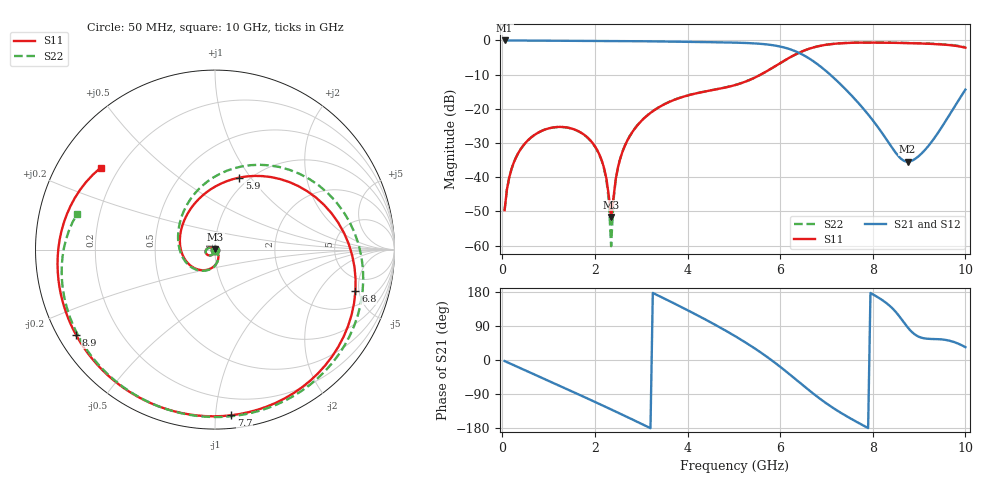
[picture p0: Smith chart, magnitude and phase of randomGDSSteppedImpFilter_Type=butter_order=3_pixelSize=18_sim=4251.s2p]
! freq	dB(S11)	phase(S11)	dB(S12)	phase(S12)
!  dB(S21)	phase(S21)	dB(S22)	phase(S22)
!S-par simulation data
#  GHz  S  DB  R 50
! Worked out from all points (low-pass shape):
!   200 points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, 50 MHz to 10 GHz, reference 50 ohm
!   highest |S21| = 0.00 dB at 50 MHz (marker M1); lowest = -35.5 dB at 8.75 GHz (marker M2)
!   |S21| within 3 dB of the highest: start of sweep to 6.301 GHz
!   lowest |S11| = -51.7 dB at 2.35 GHz (marker M3), VSWR 1.01, Z = 50.1 + j0.215 ohm
!   |S11| at or under -10 dB: start of sweep to 5.579 GHz
!   |S22| runs from -60.2 to -0.6 dB; largest |S21 - S12| = 0
!   S11 on the Smith chart (normalised r, x): 50 MHz: 1.00, -0.01; 5.9 GHz: 0.90, +0.88; 6.8 GHz: 3.29, -4.58; 7.7 GHz: 0.08, -1.10; 8.9 GHz: 0.05, -0.28; 10 GHz: 0.13, +0.32
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0.05  -49.64 -90.9  -0.00 -2.8  -0.00 -2.8  -49.65 -90.9
0.2  -37.58 -100.0  -0.02 -11.1  -0.02 -11.1  -37.58 -99.8
0.55  -29.26 -120.4  -0.04 -30.3  -0.04 -30.3  -29.27 -119.9
1.75  -27.42 170.0  -0.12 -96.6  -0.12 -96.6  -27.45 172.7
2.2  -37.43 137.0  -0.14 -121.9  -0.14 -121.9  -37.65 146.6
2.3  -45.47 113.6  -0.15 -127.6  -0.15 -127.6  -46.75 138.1
2.35  -51.66 55.1  -0.15 -130.5  -0.15 -130.5  -60.18 80.0
2.4  -46.03 -14.8  -0.16 -133.3  -0.16 -133.3  -46.89 -39.4
2.45  -40.53 -32.3  -0.16 -136.2  -0.16 -136.2  -40.67 -44.3
2.6  -32.37 -50.1  -0.18 -144.8  -0.18 -144.8  -32.35 -54.0
3.4  -19.40 -102.3  -0.30 168.1  -0.30 168.1  -19.38 -100.9
4.3  -15.15 -160.3  -0.47 112.4  -0.47 112.4  -15.13 -155.1
5.05  -12.97 144.7  -0.65 61.3  -0.65 61.3  -12.95 155.5
5.9  -7.47 71.4  -1.52 -8.4  -1.52 -8.4  -7.49 86.5
6.3  -4.31 32.3  -3.00 -47.4  -3.00 -47.4  -4.33 47.1
6.7  -2.12 -7.2  -5.92 -87.3  -5.92 -87.3  -2.12 6.9
6.8  -1.76 -16.6  -6.89 -96.8  -6.89 -96.8  -1.76 -2.6
7.7  -0.65 -84.3  -18.45 -166.5  -18.45 -166.5  -0.63 -71.1
8.35  -0.68 -120.4  -30.03 144.7  -30.03 144.7  -0.64 -106.5
8.75  -0.78 -140.7  -35.48 86.7  -35.48 86.7  -0.73 -125.9
8.9  -0.83 -148.3  -34.78 68.2  -34.78 68.2  -0.78 -133.0
10  -2.12 144.3  -14.40 33.9  -14.40 33.9  -1.99 165.7
